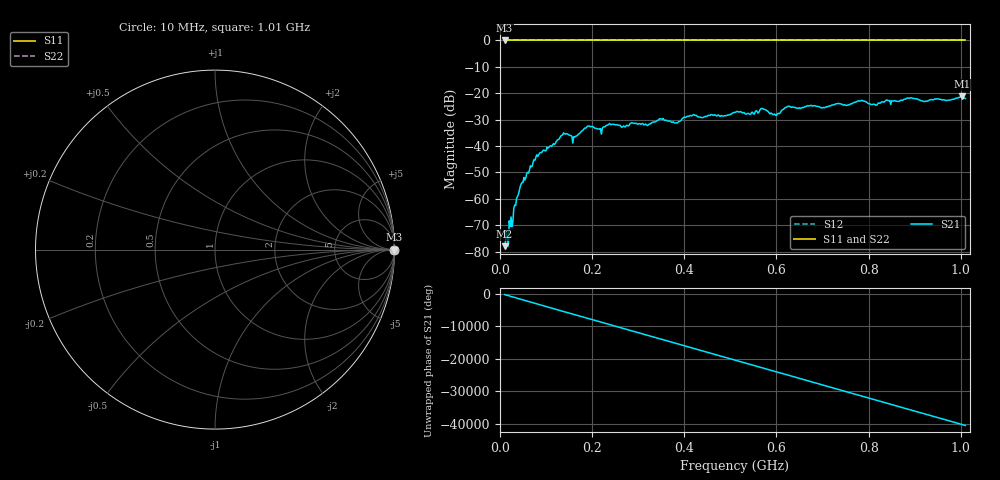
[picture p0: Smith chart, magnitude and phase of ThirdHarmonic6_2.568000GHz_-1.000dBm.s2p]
! 8/17/2025 5:21:33 AM
! C:\ANRITSUVNA\TEMP\TEMP.S2P
! CHANNEL.1
! TR.MEASUREMENT
! RAW.DATA
! RF.CORRECTION.OFF
! AVERAGING.OFF
! IF.BANDWIDTH: 5KHZ
! SWEEPTYPE:  FREQ.SWEEP(Linear)
! Reference Plane Port Info
! PORT:  PORT1  PORT2
! DISTANCE:  0  m  0  m
! TIME:  0  s  0  s
! PHASE.OFFSET:  0  deg.  0  deg.
! LOSS:  0  dB  0  dB
! REF.LOSS:  0  dB  0  dB
! REF.FREQ:  0  Hz  0  Hz
! Power Info
! POWER:  -20  dBm  -20  dBm
! EFF.POWER:  -20  dBm  -20  dBm
! SOURCE.ATTEN:  0  dB  0  dB
! TEST.ATTEN:  0  dB  0  dB
# GHZ S RI R 50.0
! FREQ.GHZ  S11RE  S11IM  S21RE  S21IM  S12RE  S12IM  S22RE  S22IM
!; PortSelection: Port_12
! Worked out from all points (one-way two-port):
!   501 points, 10 MHz to 1.01 GHz, reference 50 ohm
!   highest |S21| = -21.23 dB at 1.002 GHz (marker M1); lowest = -78.0 dB at 10 MHz (marker M2)
!   lowest |S11| = 0.0 dB at 10 MHz (marker M3)
!   |S11| at or under -10 dB: nowhere
!   |S22| runs from 0.0 to 0.0 dB; largest |S21 - S12| = 1.1
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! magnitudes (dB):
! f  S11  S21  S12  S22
! 10 MHz  0.0  -78.0  0.0  0.0
! 14 MHz  0.0  -72.3  0.0  0.0
! 44 MHz  0.0  -55.3  0.0  0.0
! 76 MHz  0.0  -45.3  0.0  0.0
! 136 MHz  0.0  -35.8  0.0  0.0
! 162 MHz  0.0  -36.6  0.0  0.0
! 178 MHz  0.0  -34.2  0.0  0.0
! 194 MHz  0.0  -32.5  0.0  0.0
! 216 MHz  0.0  -33.6  0.0  0.0
! 240 MHz  0.0  -31.9  0.0  0.0
! 322 MHz  0.0  -32.0  0.0  0.0
! 344 MHz  0.0  -30.2  0.0  0.0
! 382 MHz  0.0  -31.2  0.0  0.0
! 416 MHz  0.0  -28.6  0.0  0.0
! 510 MHz  0.0  -27.2  0.0  0.0
! 570 MHz  0.0  -25.8  0.0  0.0
! 596 MHz  0.0  -27.9  0.0  0.0
! 624 MHz  0.0  -25.0  0.0  0.0
! 678 MHz  0.0  -24.9  0.0  0.0
! 844 MHz  0.0  -22.8  0.0  0.0
! 1.002 GHz  0.0  -21.2  0.0  0.0
! 1.01 GHz  0.0  -22.0  0.0  0.0
